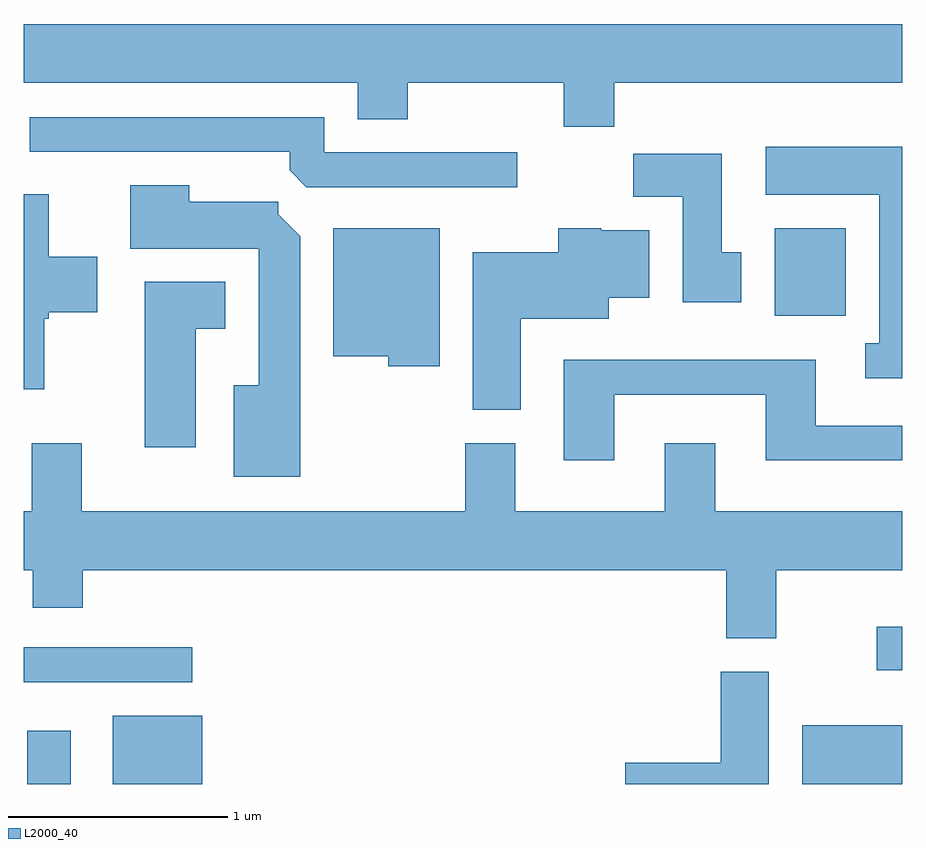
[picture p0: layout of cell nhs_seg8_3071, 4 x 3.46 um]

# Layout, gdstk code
import gdstk
lib = gdstk.Library(unit=1e-6, precision=1e-09)
def R(c, l, rs):  # rectangles x0, y0, x1, y1
    for r in rs: c.add(gdstk.rectangle(r[:2], r[2:], *l))
def P(c, l, *ps):  # polygons
    for p in ps: c.add(gdstk.Polygon(p, *l))
L2000_40 = (2000, 40)

nhs_seg8_3071 = lib.new_cell('nhs_seg8_3071')
R(nhs_seg8_3071, L2000_40, [(277.626,1824.342,277.824,1824.584), (278.016,1824.342,278.424,1824.654), (281.156,1824.342,281.611,1824.609), (277.611,1824.806,278.378,1824.964), (281.496,1824.861,281.611,1825.059), (281.031,1826.476,281.354,1826.874)])
P(nhs_seg8_3071, L2000_40, [(280.299,1827.536),(281.611,1827.536),(281.611,1827.804),(277.611,1827.804),(277.611,1827.536),(279.131,1827.536),(279.131,1827.371),(279.359,1827.371),(279.359,1827.536),(280.071,1827.536),(280.071,1827.336),(280.299,1827.336)],
  [(279.858,1827.219),(278.979,1827.219),(278.979,1827.379),(277.638,1827.379),(277.638,1827.221),(278.821,1827.221),(278.821,1827.137),(278.897,1827.061),(279.858,1827.061)],
  [(281.611,1827.244),(280.991,1827.244),(280.991,1827.026),(281.506,1827.026),(281.506,1826.349),(281.443,1826.349),(281.443,1826.191),(281.611,1826.191)],
  [(280.879,1826.764),(280.789,1826.764),(280.789,1827.214),(280.386,1827.214),(280.386,1827.016),(280.611,1827.016),(280.611,1826.536),(280.879,1826.536)],
  [(278.869,1826.837),(278.769,1826.937),(278.769,1826.994),(278.364,1826.994),(278.364,1827.069),(278.096,1827.069),(278.096,1826.781),(278.681,1826.781),(278.681,1826.159),(278.566,1826.159),(278.566,1825.741),(278.869,1825.741)],
  [(277.704,1826.461),(277.724,1826.461),(277.724,1826.491),(277.944,1826.491),(277.944,1826.744),(277.724,1826.744),(277.724,1827.029),(277.611,1827.029),(277.611,1826.141),(277.704,1826.141)],
  [(279.504,1826.874),(279.021,1826.874),(279.021,1826.291),(279.271,1826.291),(279.271,1826.246),(279.504,1826.246)],
  [(279.874,1826.461),(280.274,1826.461),(280.274,1826.556),(280.459,1826.556),(280.459,1826.864),(280.24,1826.864),(280.24,1826.874),(280.046,1826.874),(280.046,1826.764),(279.656,1826.764),(279.656,1826.046),(279.874,1826.046)],
  [(278.394,1826.416),(278.529,1826.416),(278.529,1826.629),(278.161,1826.629),(278.161,1825.876),(278.394,1825.876)],
  [(280.299,1826.116),(280.991,1826.116),(280.991,1825.816),(281.611,1825.816),(281.611,1825.974),(281.219,1825.974),(281.219,1826.274),(280.071,1826.274),(280.071,1825.816),(280.299,1825.816)],
  [(281.039,1825.316),(281.611,1825.316),(281.611,1825.584),(280.759,1825.584),(280.759,1825.894),(280.531,1825.894),(280.531,1825.584),(279.849,1825.584),(279.849,1825.894),(279.621,1825.894),(279.621,1825.584),(277.874,1825.584),(277.874,1825.894),(277.646,1825.894),(277.646,1825.584),(277.611,1825.584),(277.611,1825.316),(277.651,1825.316),(277.651,1825.146),(277.879,1825.146),(277.879,1825.316),(280.811,1825.316),(280.811,1825.006),(281.039,1825.006)],
  [(281.004,1824.854),(280.786,1824.854),(280.786,1824.439),(280.351,1824.439),(280.351,1824.342),(281.004,1824.342)])

lib.write_gds('nhs_seg8_3071.gds')
